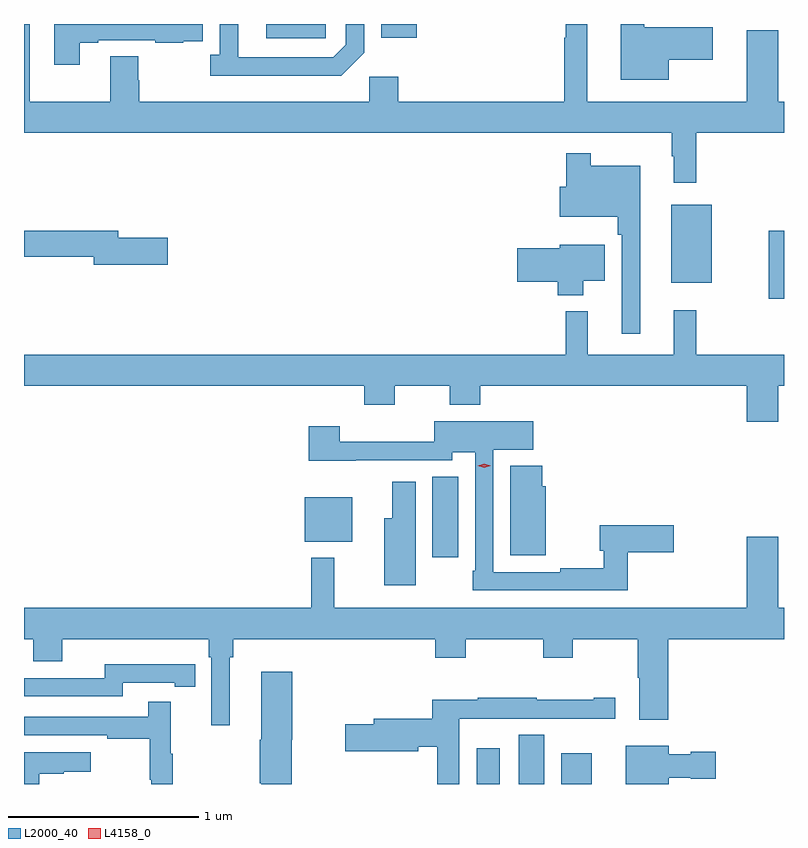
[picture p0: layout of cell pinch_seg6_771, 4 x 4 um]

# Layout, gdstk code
import gdstk
lib = gdstk.Library(unit=1e-6, precision=1e-09)
def R(c, l, rs):  # rectangles x0, y0, x1, y1
    for r in rs: c.add(gdstk.rectangle(r[:2], r[2:], *l))
def P(c, l, *ps):  # polygons
    for p in ps: c.add(gdstk.Polygon(p, *l))
L2000_40 = (2000, 40)
L4158_0 = (4158, 0)

pinch_seg6_771 = lib.new_cell('pinch_seg6_771')
R(pinch_seg6_771, L2000_40, [(283.466,958.561,283.588,958.75), (283.688,958.561,283.822,958.82), (283.91,958.561,284.071,958.723), (283.232,959.754,283.369,960.179), (282.56,959.837,282.811,960.07), (285.002,961.114,285.083,961.474), (284.489,961.199,284.704,961.609), (282.357,962.487,282.672,962.561), (282.962,962.489,283.15,962.561)])
P(pinch_seg6_771, L2000_40, [(281.377,962.463),(281.473,962.463),(281.473,962.475),(281.773,962.475),(281.773,962.463),(281.921,962.463),(281.921,962.469),(282.023,962.469),(282.023,962.561),(281.241,962.561),(281.241,962.346),(281.377,962.346)],
  [(284.476,962.372),(284.707,962.372),(284.707,962.543),(284.347,962.543),(284.347,962.561),(284.225,962.561),(284.225,962.267),(284.476,962.267)],
  [(282.873,962.409),(282.873,962.561),(282.777,962.561),(282.777,962.451),(282.711,962.385),(282.211,962.385),(282.211,962.561),(282.114,962.561),(282.114,962.398),(282.063,962.398),(282.063,962.288),(282.752,962.288)],
  [(284.621,961.988),(285.083,961.988),(285.083,962.152),(285.052,962.152),(285.052,962.527),(284.888,962.527),(284.888,962.152),(284.047,962.152),(284.047,962.561),(283.933,962.561),(283.933,962.489),(283.926,962.489),(283.926,962.152),(283.052,962.152),(283.052,962.284),(282.9,962.284),(282.9,962.152),(281.69,962.152),(281.69,962.265),(281.685,962.265),(281.685,962.39),(281.537,962.39),(281.537,962.152),(281.113,962.152),(281.113,962.561),(281.083,962.561),(281.083,961.988),(284.493,961.988),(284.493,961.865),(284.504,961.865),(284.504,961.725),(284.621,961.725)],
  [(284.326,961.816),(284.065,961.816),(284.065,961.882),(283.936,961.882),(283.936,961.705),(283.902,961.705),(283.902,961.547),(284.209,961.547),(284.209,961.451),(284.229,961.451),(284.229,960.93),(284.326,960.93)],
  [(281.839,961.436),(281.578,961.436),(281.578,961.472),(281.083,961.472),(281.083,961.336),(281.45,961.336),(281.45,961.294),(281.839,961.294)],
  [(284.026,961.211),(284.14,961.211),(284.14,961.399),(283.904,961.399),(283.904,961.382),(283.68,961.382),(283.68,961.204),(283.892,961.204),(283.892,961.133),(284.026,961.133)],
  [(285.052,960.656),(285.083,960.656),(285.083,960.82),(284.621,960.82),(284.621,961.054),(284.504,961.054),(284.504,960.82),(284.051,960.82),(284.051,961.048),(283.933,961.048),(283.933,960.82),(281.083,960.82),(281.083,960.656),(282.875,960.656),(282.875,960.557),(283.035,960.557),(283.035,960.656),(283.324,960.656),(283.324,960.557),(283.484,960.557),(283.484,960.656),(284.888,960.656),(284.888,960.468),(285.052,960.468)],
  [(284.261,959.782),(284.503,959.782),(284.503,959.924),(284.114,959.924),(284.114,959.789),(284.133,959.789),(284.133,959.696),(283.906,959.696),(283.906,959.676),(283.554,959.676),(283.554,960.32),(283.762,960.32),(283.762,960.469),(283.242,960.469),(283.242,960.362),(282.746,960.362),(282.746,960.445),(282.581,960.445),(282.581,960.263),(282.829,960.263),(282.829,960.264),(283.338,960.264),(283.338,960.308),(283.458,960.308),(283.458,959.683),(283.446,959.683),(283.446,959.58),(284.261,959.58)],
  [(283.828,960.129),(283.81,960.129),(283.81,960.235),(283.643,960.235),(283.643,959.765),(283.828,959.765)],
  [(283.144,960.151),(283.022,960.151),(283.022,959.959),(282.98,959.959),(282.98,959.607),(283.144,959.607)],
  [(282.166,959.228),(282.185,959.228),(282.185,959.324),(283.247,959.324),(283.247,959.225),(283.407,959.225),(283.407,959.324),(283.816,959.324),(283.816,959.225),(283.971,959.225),(283.971,959.324),(284.314,959.324),(284.314,959.12),(284.321,959.12),(284.321,958.899),(284.474,958.899),(284.474,959.324),(285.083,959.324),(285.083,959.488),(285.052,959.488),(285.052,959.863),(284.888,959.863),(284.888,959.488),(282.716,959.488),(282.716,959.752),(282.595,959.752),(282.595,959.488),(281.083,959.488),(281.083,959.324),(281.132,959.324),(281.132,959.207),(281.284,959.207),(281.284,959.324),(282.056,959.324),(282.056,959.228),(282.069,959.228),(282.069,958.869),(282.166,958.869)],
  [(281.604,959.094),(281.876,959.094),(281.876,959.074),(281.984,959.074),(281.984,959.19),(281.876,959.19),(281.876,959.191),(281.508,959.191),(281.508,959.118),(281.083,959.118),(281.083,959.022),(281.604,959.022)],
  [(282.491,958.794),(282.496,958.794),(282.496,959.152),(282.332,959.152),(282.332,958.794),(282.325,958.794),(282.325,958.564),(282.332,958.564),(282.332,958.561),(282.491,958.561)],
  [(283.374,958.904),(283.584,958.904),(283.584,958.905),(283.918,958.905),(283.918,958.904),(284.194,958.904),(284.194,959.014),(284.081,959.014),(284.081,959.004),(283.781,959.004),(283.781,959.014),(283.471,959.014),(283.471,959.004),(283.232,959.004),(283.232,958.905),(282.923,958.905),(282.923,958.875),(282.774,958.875),(282.774,958.733),(283.158,958.733),(283.158,958.757),(283.258,958.757),(283.258,958.561),(283.374,958.561)],
  [(281.866,958.721),(281.855,958.721),(281.855,958.993),(281.737,958.993),(281.737,958.914),(281.083,958.914),(281.083,958.818),(281.521,958.818),(281.521,958.798),(281.745,958.798),(281.745,958.584),(281.752,958.584),(281.752,958.561),(281.866,958.561)],
  [(284.476,958.595),(284.592,958.595),(284.592,958.588),(284.725,958.588),(284.725,958.73),(284.592,958.73),(284.592,958.717),(284.476,958.717),(284.476,958.762),(284.249,958.762),(284.249,958.561),(284.476,958.561)],
  [(281.164,958.615),(281.291,958.615),(281.291,958.625),(281.434,958.625),(281.434,958.729),(281.083,958.729),(281.083,958.561),(281.164,958.561)])
P(pinch_seg6_771, L4158_0, [(283.505,960.226),(283.47,960.235),(283.47,960.235),(283.47,960.235),(283.505,960.246),(283.54,960.237),(283.54,960.236),(283.54,960.236)])

lib.write_gds('pinch_seg6_771.gds')
